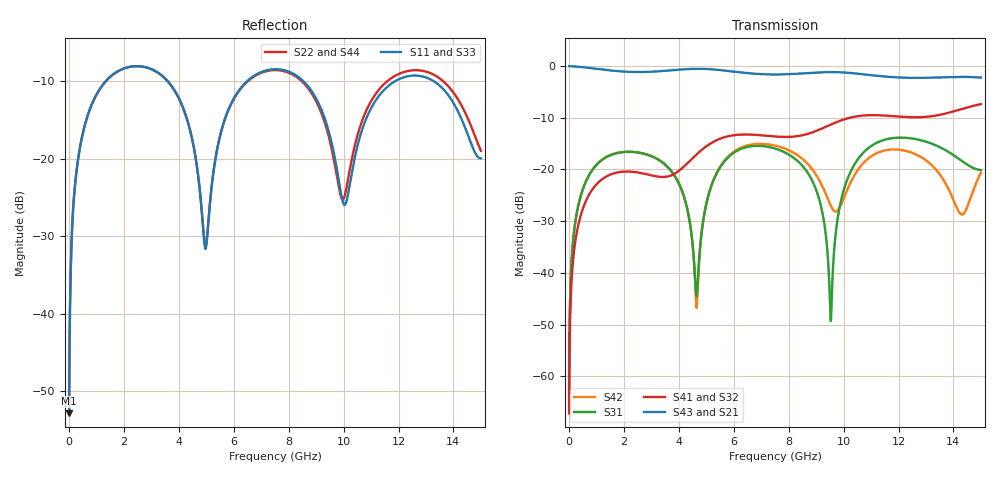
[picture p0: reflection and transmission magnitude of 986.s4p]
! Created with skrf 1.8.0 (http://scikit-rf.org).
# GHz S RI R 50.0
!freq ReS11 ImS11 ReS12 ImS12 ReS13 ImS13
! ReS14 ImS14
! ReS21 ImS21 ReS22 ImS22 ReS23 ImS23
! ReS24 ImS24
! ReS31 ImS31 ReS32 ImS32 ReS33 ImS33
! ReS34 ImS34
! ReS41 ImS41 ReS42 ImS42 ReS43 ImS43
! ReS44 ImS44
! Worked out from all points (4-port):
!   2499 points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, 5 MHz to 15 GHz, reference 50 ohm
!   strongest paths, dB at 5 MHz, 3.476 GHz, 7.19 GHz, 11.1 GHz, 15 GHz:
!     S43: 0.0, -0.9, -1.6, -1.8, -2.2
!     S21: 0.0, -0.9, -1.6, -1.8, -2.2
!     S41: -67.2, -21.4, -13.5, -9.5, -7.4
!     S32: -67.2, -21.4, -13.5, -9.5, -7.4
!     S31: -63.3, -19.0, -15.6, -15.1, -20.1
!     S42: -63.3, -18.9, -15.1, -17.1, -20.6
!   lowest |S11| = -52.9 dB at 5 MHz (marker M1), VSWR 1.00, Z = 50.2 + j0.138 ohm
!   |S11| at or under -10 dB: 3.597 GHz to 6.48 GHz (2.883 GHz wide, 57.2 % of centre); 8.543 GHz to 11.87 GHz (3.323 GHz wide, 32.6 % of centre); 13.29 GHz to end of sweep (the widest 3 of 4)
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0.005  0.0018 0.00138  0.9982 -0.00351  8.96e-05 0.000674  -8.72e-05 -0.000429
       0.9982 -0.00351  0.0018 0.00138  -8.72e-05 -0.000429  8.96e-05 0.000674
       8.96e-05 0.000674  -8.72e-05 -0.000429  0.0018 0.00138  0.9982 -0.00351
       -8.72e-05 -0.000429  8.96e-05 0.000674  0.9982 -0.00351  0.0018 0.00138
1.469362  0.2847 0.1751  0.5209 -0.7461  0.1251 0.054  -0.0884 -0.00195
          0.5209 -0.7461  0.2845 0.1753  -0.0884 -0.00193  0.1256 0.0532
          0.1251 0.054  -0.0884 -0.00193  0.2848 0.1751  0.5209 -0.7461
          -0.0884 -0.00195  0.1256 0.0532  0.5209 -0.7461  0.2845 0.1753
4.646818  0.0426 -0.0819  -0.9031 -0.2666  -0.0059 3.61e-05  -0.0355 0.1353
          -0.9031 -0.2666  0.0438 -0.0817  -0.0353 0.1354  -0.00459 -5.81e-06
          -0.0059 3.61e-05  -0.0353 0.1354  0.0433 -0.083  -0.9029 -0.2668
          -0.0355 0.1353  -0.00459 -5.81e-06  -0.9029 -0.2668  0.0439 -0.083
7.553147  0.3787 -0.00655  -0.0698 0.8265  0.144 -0.0649  0.2026 -0.0477
          -0.0698 0.8265  0.3735 -0.00338  0.2025 -0.0481  0.1456 -0.0859
          0.144 -0.0649  0.2025 -0.0481  0.3771 -0.00778  -0.0691 0.8272
          0.2026 -0.0477  0.1456 -0.0859  -0.0691 0.8272  0.372 -0.00309
9.535223  0.0821 -0.1051  0.7894 0.378  -0.00336 0.000581  0.1107 -0.2485
          0.7894 0.378  0.0821 -0.0908  0.11 -0.2488  -0.0407 -0.0183
          -0.00336 0.000581  0.11 -0.2488  0.0806 -0.1042  0.7904 0.3762
          0.1107 -0.2485  -0.0407 -0.0183  0.7904 0.3762  0.0816 -0.0893
10.86703  0.1373 0.1301  0.7535 -0.3347  0.1468 0.0591  -0.1681 -0.2892
          0.7535 -0.3347  0.1544 0.1454  -0.1691 -0.2888  0.098 0.0788
          0.1468 0.0591  -0.1691 -0.2888  0.1375 0.1305  0.7523 -0.3367
          -0.1681 -0.2892  0.098 0.0788  0.7523 -0.3367  0.1555 0.1458
15  0.1005 0.00444  -0.7527 -0.1822  -0.0764 0.0624  -0.0948 0.4174
    -0.7527 -0.1822  0.0996 -0.0526  -0.0927 0.4176  0.0205 0.0908
    -0.0764 0.0624  -0.0927 0.4176  0.1006 0.00697  -0.7541 -0.1762
    -0.0948 0.4174  0.0205 0.0908  -0.7541 -0.1762  0.0977 -0.05
